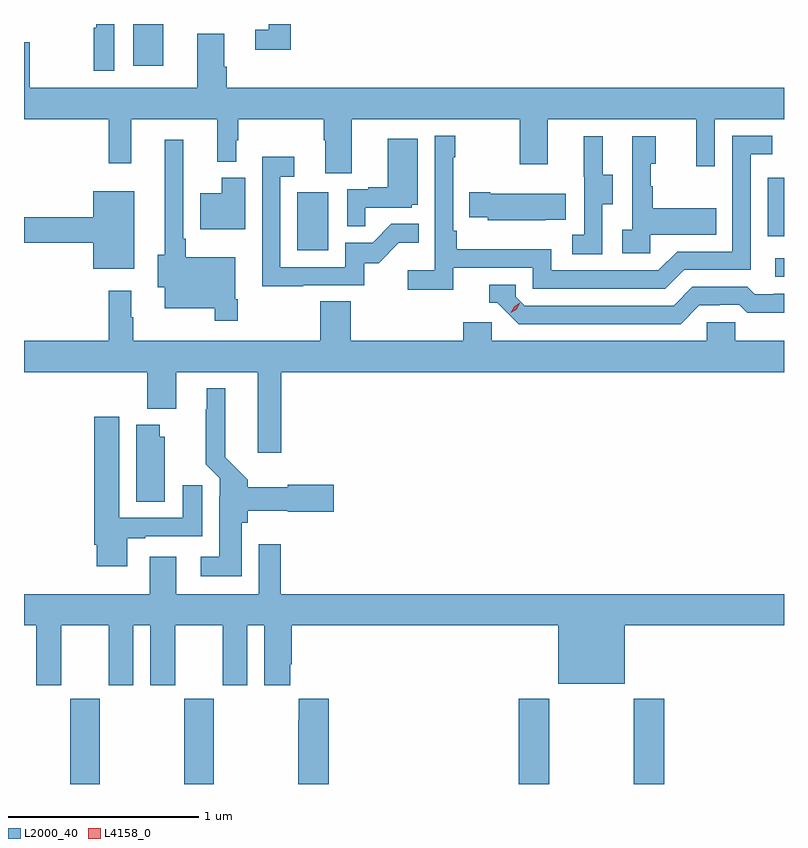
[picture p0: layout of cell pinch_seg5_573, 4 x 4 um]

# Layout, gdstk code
import gdstk
lib = gdstk.Library(unit=1e-6, precision=1e-09)
def R(c, l, rs):  # rectangles x0, y0, x1, y1
    for r in rs: c.add(gdstk.rectangle(r[:2], r[2:], *l))
def P(c, l, *ps):  # polygons
    for p in ps: c.add(gdstk.Polygon(p, *l))
L2000_40 = (2000, 40)
L4158_0 = (4158, 0)

pinch_seg5_573 = lib.new_cell('pinch_seg5_573')
R(pinch_seg5_573, L2000_40, [(1078.099,869.244,1078.254,869.692), (1078.699,869.244,1078.854,869.692), (1080.461,869.244,1080.621,869.692), (1081.066,869.244,1081.226,869.692), (1081.809,871.914,1081.856,872.01), (1079.294,872.052,1079.458,872.359), (1081.77,872.127,1081.856,872.436), (1078.43,873.024,1078.588,873.244)])
P(pinch_seg5_573, L2000_40, [(1079.261,873.244),(1079.145,873.244),(1079.145,873.213),(1079.073,873.213),(1079.073,873.108),(1079.261,873.108)],
  [(1078.332,873.244),(1078.236,873.244),(1078.236,873.224),(1078.224,873.224),(1078.224,872.997),(1078.332,872.997)],
  [(1079.581,872.744),(1080.466,872.744),(1080.466,872.505),(1080.613,872.505),(1080.613,872.744),(1081.394,872.744),(1081.394,872.496),(1081.491,872.496),(1081.491,872.744),(1081.856,872.744),(1081.856,872.908),(1078.922,872.908),(1078.922,873.02),(1078.909,873.02),(1078.909,873.194),(1078.769,873.194),(1078.769,872.908),(1077.885,872.908),(1077.885,873.148),(1077.856,873.148),(1077.856,872.744),(1078.303,872.744),(1078.303,872.511),(1078.421,872.511),(1078.421,872.744),(1078.874,872.744),(1078.874,872.519),(1078.972,872.519),(1078.972,872.632),(1078.984,872.632),(1078.984,872.744),(1079.434,872.744),(1079.434,872.632),(1079.441,872.632),(1079.441,872.458),(1079.581,872.458)],
  [(1080.116,871.962),(1080.534,871.962),(1080.534,871.851),(1081.231,871.851),(1081.33,871.95),(1081.68,871.95),(1081.68,872.559),(1081.793,872.559),(1081.793,872.655),(1081.584,872.655),(1081.584,872.046),(1081.293,872.046),(1081.194,871.947),(1080.63,871.947),(1080.63,872.059),(1080.134,872.059),(1080.134,872.155),(1080.114,872.155),(1080.114,872.543),(1080.127,872.543),(1080.127,872.656),(1080.018,872.656),(1080.018,871.948),(1079.877,871.948),(1079.877,871.846),(1080.116,871.846)],
  [(1081.152,872.135),(1081.499,872.135),(1081.499,872.275),(1081.165,872.275),(1081.165,872.39),(1081.155,872.39),(1081.155,872.508),(1081.18,872.508),(1081.18,872.653),(1081.056,872.653),(1081.056,872.162),(1081.005,872.162),(1081.005,872.037),(1081.152,872.037)],
  [(1080.9,872.296),(1080.955,872.296),(1080.955,872.451),(1080.901,872.451),(1080.901,872.653),(1080.803,872.653),(1080.803,872.439),(1080.804,872.439),(1080.804,872.135),(1080.741,872.135),(1080.741,872.032),(1080.9,872.032)],
  [(1079.651,872.277),(1079.898,872.277),(1079.898,872.292),(1079.929,872.292),(1079.929,872.641),(1079.771,872.641),(1079.771,872.386),(1079.667,872.386),(1079.667,872.373),(1079.556,872.373),(1079.556,872.179),(1079.651,872.179)],
  [(1078.981,871.795),(1078.968,871.795),(1078.968,872.017),(1078.708,872.017),(1078.708,872.113),(1078.695,872.113),(1078.695,872.635),(1078.598,872.635),(1078.598,872.03),(1078.559,872.03),(1078.559,871.859),(1078.598,871.859),(1078.598,871.748),(1078.86,871.748),(1078.86,871.683),(1078.981,871.683)],
  [(1079.327,871.869),(1079.646,871.869),(1079.646,871.986),(1079.722,871.986),(1079.829,872.093),(1079.933,872.093),(1079.933,872.192),(1079.789,872.192),(1079.691,872.094),(1079.547,872.094),(1079.547,871.965),(1079.205,871.965),(1079.205,872.439),(1079.278,872.439),(1079.278,872.545),(1079.109,872.545),(1079.109,871.864),(1079.327,871.864)],
  [(1079.02,872.434),(1078.898,872.434),(1078.898,872.353),(1078.784,872.353),(1078.784,872.165),(1079.02,872.165)],
  [(1078.435,872.365),(1078.22,872.365),(1078.22,872.228),(1077.856,872.228),(1077.856,872.092),(1078.22,872.092),(1078.22,871.955),(1078.435,871.955)],
  [(1080.599,872.213),(1080.707,872.213),(1080.707,872.35),(1080.31,872.35),(1080.31,872.358),(1080.199,872.358),(1080.199,872.228),(1080.297,872.228),(1080.297,872.21),(1080.599,872.21)],
  [(1081.411,871.764),(1081.518,871.764),(1081.518,871.767),(1081.621,871.767),(1081.663,871.725),(1081.856,871.725),(1081.856,871.824),(1081.801,871.824),(1081.801,871.821),(1081.702,871.821),(1081.663,871.86),(1081.374,871.86),(1081.275,871.761),(1080.492,871.761),(1080.444,871.809),(1080.444,871.872),(1080.305,871.872),(1080.305,871.776),(1080.348,871.776),(1080.459,871.665),(1081.312,871.665)],
  [(1078.303,871.84),(1078.303,871.576),(1077.856,871.576),(1077.856,871.412),(1078.505,871.412),(1078.505,871.22),(1078.657,871.22),(1078.657,871.412),(1079.087,871.412),(1079.087,870.987),(1079.21,870.987),(1079.21,871.412),(1081.856,871.412),(1081.856,871.576),(1081.599,871.576),(1081.599,871.674),(1081.449,871.674),(1081.449,871.576),(1080.318,871.576),(1080.318,871.674),(1080.167,871.674),(1080.167,871.576),(1079.576,871.576),(1079.576,871.784),(1079.416,871.784),(1079.416,871.576),(1078.432,871.576),(1078.432,871.7),(1078.42,871.7),(1078.42,871.84)],
  [(1079.002,870.618),(1079.033,870.618),(1079.033,870.683),(1079.244,870.683),(1079.244,870.676),(1079.485,870.676),(1079.485,870.818),(1079.244,870.818),(1079.244,870.805),(1079.033,870.805),(1079.033,870.846),(1078.915,870.964),(1078.915,871.327),(1078.817,871.327),(1078.817,871.217),(1078.813,871.217),(1078.813,870.926),(1078.887,870.852),(1078.887,870.758),(1078.883,870.758),(1078.883,870.439),(1078.785,870.439),(1078.785,870.338),(1079.002,870.338)],
  [(1078.399,870.537),(1078.495,870.537),(1078.495,870.549),(1078.795,870.549),(1078.795,870.817),(1078.691,870.817),(1078.691,870.645),(1078.357,870.645),(1078.357,871.177),(1078.226,871.177),(1078.226,870.502),(1078.238,870.502),(1078.238,870.39),(1078.399,870.39)],
  [(1078.597,871.071),(1078.57,871.071),(1078.57,871.135),(1078.448,871.135),(1078.448,870.73),(1078.597,870.73)],
  [(1078.051,870.08),(1078.301,870.08),(1078.301,869.763),(1078.432,869.763),(1078.432,870.08),(1078.52,870.08),(1078.52,869.763),(1078.651,869.763),(1078.651,870.08),(1078.901,870.08),(1078.901,869.763),(1079.032,869.763),(1079.032,870.08),(1079.12,870.08),(1079.12,869.763),(1079.257,869.763),(1079.257,869.875),(1079.264,869.875),(1079.264,870.08),(1080.668,870.08),(1080.668,869.771),(1081.018,869.771),(1081.018,870.08),(1081.856,870.08),(1081.856,870.244),(1079.207,870.244),(1079.207,870.505),(1079.091,870.505),(1079.091,870.244),(1078.657,870.244),(1078.657,870.439),(1078.517,870.439),(1078.517,870.244),(1077.856,870.244),(1077.856,870.08),(1077.92,870.08),(1077.92,869.763),(1078.051,869.763)],
  [(1079.459,869.692),(1079.303,869.692),(1079.303,869.579),(1079.299,869.579),(1079.299,869.244),(1079.459,869.244)])
P(pinch_seg5_573, L4158_0, [(1080.419,871.724),(1080.419,871.725),(1080.435,871.757),(1080.466,871.777),(1080.466,871.777),(1080.466,871.776),(1080.45,871.744),(1080.419,871.724)])

lib.write_gds('pinch_seg5_573.gds')
